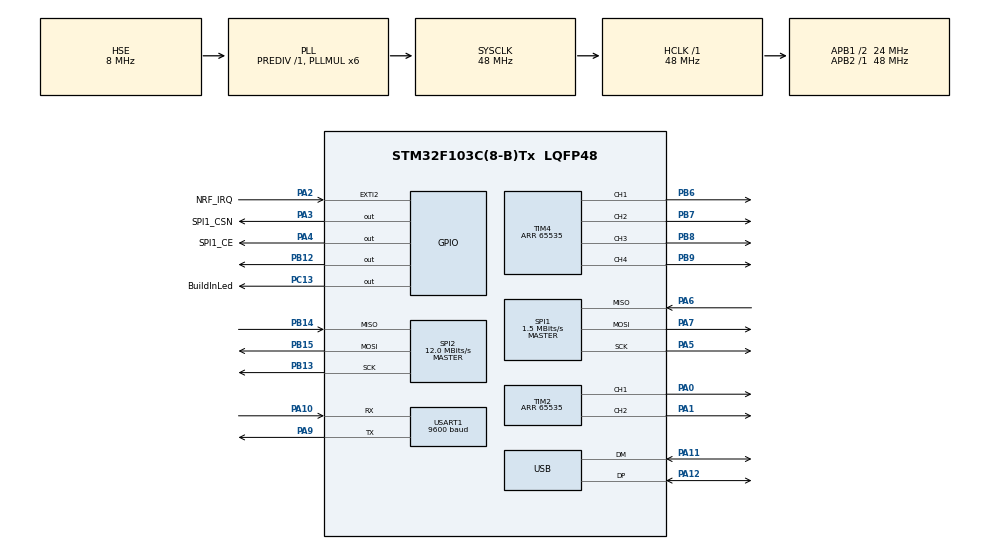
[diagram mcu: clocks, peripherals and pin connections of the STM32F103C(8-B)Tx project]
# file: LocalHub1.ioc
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Mcu.Family=STM32F1
Mcu.Name=STM32F103C(8-B)Tx
Mcu.Package=LQFP48
NVIC.EXTI2_IRQn=true\:0\:0\:false\:false\:true\:true\:true
NVIC.PriorityGroup=NVIC_PRIORITYGROUP_4
NVIC.RCC_IRQn=true\:0\:0\:false\:false\:true\:true\:false
NVIC.TIM3_IRQn=true\:0\:0\:false\:false\:true\:true\:true
NVIC.USART1_IRQn=true\:0\:0\:false\:false\:true\:true\:true
NVIC.USB_LP_CAN1_RX0_IRQn=true\:0\:0\:false\:false\:true\:false\:true
PA0-WKUP.GPIO_Speed=GPIO_SPEED_FREQ_HIGH
PA0-WKUP.Signal=S_TIM2_CH1_ETR
PA1.GPIO_Speed=GPIO_SPEED_FREQ_HIGH
PA1.Signal=S_TIM2_CH2
PA10.Mode=Asynchronous
PA10.Signal=USART1_RX
PA11.Mode=Device
PA11.Signal=USB_DM
PA12.Mode=Device
PA12.Signal=USB_DP
PA13.Mode=Serial_Wire
PA13.Signal=SYS_JTMS-SWDIO
PA14.Mode=Serial_Wire
PA14.Signal=SYS_JTCK-SWCLK
PA2.GPIO_Label=NRF_IRQ
PA2.GPIO_ModeDefaultEXTI=GPIO_MODE_IT_FALLING
PA2.GPIO_PuPd=GPIO_PULLDOWN
PA2.Signal=GPXTI2
PA3.GPIO_Label=SPI1_CSN
PA3.Signal=GPIO_Output
PA4.GPIO_Label=SPI1_CE
PA4.Signal=GPIO_Output
PA5.Mode=Full_Duplex_Master
PA5.Signal=SPI1_SCK
PA6.Mode=Full_Duplex_Master
PA6.Signal=SPI1_MISO
PA7.Mode=Full_Duplex_Master
PA7.Signal=SPI1_MOSI
PA9.Mode=Asynchronous
PA9.Signal=USART1_TX
PB12.Signal=GPIO_Output
PB13.Mode=Full_Duplex_Master
PB13.Signal=SPI2_SCK
PB14.Mode=Full_Duplex_Master
PB14.Signal=SPI2_MISO
PB15.Mode=Full_Duplex_Master
PB15.Signal=SPI2_MOSI
PB6.Signal=S_TIM4_CH1
PB7.Signal=S_TIM4_CH2
PB8.Signal=S_TIM4_CH3
PB9.Signal=S_TIM4_CH4
PC13-TAMPER-RTC.GPIO_Label=BuildInLed
PC13-TAMPER-RTC.Signal=GPIO_Output
PD0-OSC_IN.Mode=HSE-External-Oscillator
PD0-OSC_IN.Signal=RCC_OSC_IN
PD1-OSC_OUT.Mode=HSE-External-Oscillator
PD1-OSC_OUT.Signal=RCC_OSC_OUT
ProjectManager.HeapSize=0x200
ProjectManager.StackSize=0x400
ProjectManager.TargetToolchain=STM32CubeIDE
RCC.AHBFreq_Value=48000000
RCC.APB1CLKDivider=RCC_HCLK_DIV2
RCC.APB1Freq_Value=24000000
RCC.APB1TimFreq_Value=48000000
RCC.APB2Freq_Value=48000000
RCC.APB2TimFreq_Value=48000000
RCC.HCLKFreq_Value=48000000
RCC.PLLMUL=RCC_PLL_MUL6
RCC.PLLSourceVirtual=RCC_PLLSOURCE_HSE
RCC.SYSCLKFreq_VALUE=48000000
RCC.SYSCLKSource=RCC_SYSCLKSOURCE_PLLCLK
RCC.USBFreq_Value=48000000
SH.S_TIM2_CH1_ETR.0=TIM2_CH1,PWM Generation1 CH1
SH.S_TIM2_CH2.0=TIM2_CH2,PWM Generation2 CH2
SH.S_TIM4_CH1.0=TIM4_CH1,PWM Generation1 CH1
SH.S_TIM4_CH2.0=TIM4_CH2,PWM Generation2 CH2
SH.S_TIM4_CH3.0=TIM4_CH3,PWM Generation3 CH3
SH.S_TIM4_CH4.0=TIM4_CH4,PWM Generation4 CH4
SPI1.BaudRatePrescaler=SPI_BAUDRATEPRESCALER_32
SPI1.CalculateBaudRate=1.5 MBits/s
SPI1.Direction=SPI_DIRECTION_2LINES
SPI1.Mode=SPI_MODE_MASTER
SPI1.VirtualType=VM_MASTER
SPI2.BaudRatePrescaler=SPI_BAUDRATEPRESCALER_2
SPI2.CalculateBaudRate=12.0 MBits/s
SPI2.Direction=SPI_DIRECTION_2LINES
SPI2.Mode=SPI_MODE_MASTER
SPI2.VirtualType=VM_MASTER
TIM2.Channel-PWM\ Generation1\ CH1=TIM_CHANNEL_1
TIM2.Channel-PWM\ Generation2\ CH2=TIM_CHANNEL_2
TIM2.OCFastMode_PWM-PWM\ Generation1\ CH1=TIM_OCFAST_ENABLE
TIM2.Period=65535
TIM3.Period=1000
TIM3.Prescaler=47999
TIM4.Channel-PWM\ Generation1\ CH1=TIM_CHANNEL_1
TIM4.Channel-PWM\ Generation2\ CH2=TIM_CHANNEL_2
TIM4.Channel-PWM\ Generation3\ CH3=TIM_CHANNEL_3
TIM4.Channel-PWM\ Generation4\ CH4=TIM_CHANNEL_4
TIM4.Period=65535
USART1.BaudRate=9600
USART1.VirtualMode=VM_ASYNC
USB_DEVICE.CLASS_NAME_FS=CDC
USB_DEVICE.VirtualMode=Cdc
USB_DEVICE.VirtualModeFS=Cdc_FS
VP_TIM2_VS_ClockSourceINT.Mode=Internal
VP_TIM3_VS_ClockSourceINT.Mode=Internal
VP_TIM4_VS_ClockSourceINT.Mode=Internal
VP_USB_DEVICE_VS_USB_DEVICE_CDC_FS.Mode=CDC_FS
board=custom

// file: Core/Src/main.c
/* USER CODE BEGIN Header */
/**
  ******************************************************************************
  * @file           : main.c
  * @brief          : Main program body
  ******************************************************************************
  * @attention
  *
  * <h2><center>&copy; Copyright (c) 2020 STMicroelectronics.
  * All rights reserved.</center></h2>
  *
  * This software component is licensed by ST under BSD 3-Clause license,
  * the "License"; You may not use this file except in compliance with the
  * License. You may obtain a copy of the License at:
  *                        opensource.org/licenses/BSD-3-Clause
  *
  ******************************************************************************
  */
/* USER CODE END Header */

#include "main.h"
#include "spi.h"
#include "tim.h"
#include "usart.h"
#include "usb_device.h"
#include "gpio.h"

/* USER CODE BEGIN Includes */
#include "stdbool.h"
#include "string.h"
#include "math.h"
#include "usbd_cdc_if.h"

#include "NRF.h"
#include "ShiftRegister.h"
/* USER CODE END Includes */

/* USER CODE BEGIN PM */
#define PC_SEND(str) HAL_UART_Transmit(&huart1, (uint8_t*)str, strlen(str), 1000);
//#define PC_SEND(str) ;
/* USER CODE END PM */

/* USER CODE BEGIN PV */
#define ownNum  2

const uint8_t serverAddr[] = {1, 1, 1, 1, 1};
const uint8_t ownAddr[] = {ownNum, 1, 1, 1, 1};

extern bool UART1_MessageReady;
extern volatile uint8_t recvByte;
extern char UART1_RX_buff[32];

extern uint32_t startReceivingMessageTime;
extern bool startReceivingMessage;
bool NRF_IRQ = false;

extern uint8_t UserRxBufferFS[];
/* USER CODE END PV */

void SystemClock_Config(void);
/* USER CODE BEGIN PFP */
void InputMessageHandler(char *message);
int8_t SendMsg(uint8_t *receiverAddress, uint8_t *buf, uint8_t dataLength, uint8_t attemptCount, uint8_t delayBetweenAttemps);
void UART1_ClearRXBuff(void);
/* USER CODE END PFP */

int main(void)
{

  /* MCU Configuration--------------------------------------------------------*/

  /* Reset of all peripherals, Initializes the Flash interface and the Systick. */
  HAL_Init();

  /* Configure the system clock */
  SystemClock_Config();

  /* Initialize all configured peripherals */
  MX_GPIO_Init();
  MX_SPI1_Init();
  MX_SPI2_Init();
  MX_USART1_UART_Init();
  MX_TIM2_Init();
  MX_TIM4_Init();
  MX_USB_DEVICE_Init();
  MX_TIM3_Init();
  /* USER CODE BEGIN 2 */
  SR_SetValue(0x0000);
  HAL_UART_Receive_IT(&huart1, &recvByte, (uint16_t)1);
  NRF_Init(serverAddr, ownAddr);
  HAL_TIM_Base_Start_IT(&htim3);
  /* USER CODE END 2 */

  /* Infinite loop */
  /* USER CODE BEGIN WHILE */
  PC_SEND("\nBegin\n");

  /*
   * Отправка сообщения готовности на сервер.
   * Не изменять код! При выносе кода в функцию перестает работать!
   */
  int result = -2;
  uint8_t readyCommand[] = {0xff, ownNum, 0x01};
  NRF_TX_Mode();
  NRF_SendPacket(serverAddr, readyCommand, 3, W_TX_PAYLOAD);
  for(uint8_t i = 0; i < 10 && result != 1; ++i)
  {
  	result = NRF_SendPacket(serverAddr, readyCommand, 3, W_TX_PAYLOAD);
  	PC_SEND("[ WARNING ] Ready-packet did not sent. Try again.\n");
  	HAL_Delay(10);
  }
  NRF_RX_Mode();
  /*
   * Конец бага
   */

  if(result == 1)
  {
  	PC_SEND("[ OK ] Ready-packet was sent\n");
  }
  else if(result == 0)
  {
  	PC_SEND("[ WARNING ] Ready-packet did not sent\n");
  }
  else
  {
  	PC_SEND("[ ERROR ] Not handler\n");
  }

  while (1)
  {

  	if(NRF_IRQ == true)
  	{
  		uint8_t status = NRF_GetStatus();
			uint8_t FIFO = NRF_ReadReg(NRF_REG_FIFO_STATUS);
			uint8_t pipeNum = NRF_GetPipeNum();

			if(!(FIFO & _BV(RX_EMPTY)))
			{
				while(!(FIFO & _BV(RX_EMPTY)))
				{
					NRF_GetPacket(NRF_rxBuff);
					InputMessageHandler(NRF_rxBuff);
					NRF_ClearRxBuff();

					FIFO = NRF_ReadReg(NRF_REG_FIFO_STATUS);
					status = NRF_GetStatus();
				}

			}

			NRF_IRQ = false;
  	}

			//UART
			if(UART1_MessageReady)
			{
				InputMessageHandler(UART1_RX_buff);
				UART1_ClearRXBuff();
			}

			//USB
			uint8_t recvComBuffLen = strlen(UserRxBufferFS);
			if(recvComBuffLen > 0)
			{
				//CDC_Transmit_FS(UserRxBufferFS, recvComBuffLen);
				InputMessageHandler(UserRxBufferFS);
				memset(UserRxBufferFS, 0, recvComBuffLen);
			}

    /* USER CODE END WHILE */

  }
}

void SystemClock_Config(void)
{
  RCC_OscInitTypeDef RCC_OscInitStruct = {0};
  RCC_ClkInitTypeDef RCC_ClkInitStruct = {0};
  RCC_PeriphCLKInitTypeDef PeriphClkInit = {0};

  /** Initializes the CPU, AHB and APB busses clocks
  */
  RCC_OscInitStruct.OscillatorType = RCC_OSCILLATORTYPE_HSE;
  RCC_OscInitStruct.HSEState = RCC_HSE_ON;
  RCC_OscInitStruct.HSEPredivValue = RCC_HSE_PREDIV_DIV1;
  RCC_OscInitStruct.HSIState = RCC_HSI_ON;
  RCC_OscInitStruct.PLL.PLLState = RCC_PLL_ON;
  RCC_OscInitStruct.PLL.PLLSource = RCC_PLLSOURCE_HSE;
  RCC_OscInitStruct.PLL.PLLMUL = RCC_PLL_MUL6;
  if (HAL_RCC_OscConfig(&RCC_OscInitStruct) != HAL_OK)
  {
    Error_Handler();
  }
  /** Initializes the CPU, AHB and APB busses clocks
  */
  RCC_ClkInitStruct.ClockType = RCC_CLOCKTYPE_HCLK|RCC_CLOCKTYPE_SYSCLK
                              |RCC_CLOCKTYPE_PCLK1|RCC_CLOCKTYPE_PCLK2;
  RCC_ClkInitStruct.SYSCLKSource = RCC_SYSCLKSOURCE_PLLCLK;
  RCC_ClkInitStruct.AHBCLKDivider = RCC_SYSCLK_DIV1;
  RCC_ClkInitStruct.APB1CLKDivider = RCC_HCLK_DIV2;
  RCC_ClkInitStruct.APB2CLKDivider = RCC_HCLK_DIV1;

  if (HAL_RCC_ClockConfig(&RCC_ClkInitStruct, FLASH_LATENCY_1) != HAL_OK)
  {
    Error_Handler();
  }
  PeriphClkInit.PeriphClockSelection = RCC_PERIPHCLK_USB;
  PeriphClkInit.UsbClockSelection = RCC_USBCLKSOURCE_PLL;
  if (HAL_RCCEx_PeriphCLKConfig(&PeriphClkInit) != HAL_OK)
  {
    Error_Handler();
  }
}

/* USER CODE BEGIN 4 */
void InputMessageHandler(char *message)
{
	uint8_t cursorPosition = 0;
	uint8_t messageLength = strlen(message);

	int result = 0;
	uint8_t onlineCommand[] = {0xff, ownNum, 0x02};

	while(cursorPosition <= messageLength - 1)
	{
		switch(message[cursorPosition])
		{
			//Command reserved
			case 0x00: break;

			/*
			 * Send online command
			 */
			case 0x01:
				NRF_TX_Mode();
				for(uint8_t i = 0; i < 10 && result != 1; ++i)
				{
					result = NRF_SendPacket(serverAddr, onlineCommand, 3, W_TX_PAYLOAD);
				  PC_SEND("[ WARNING ] Online-packet did not sent.\n");
				  HAL_Delay(100);
				 }
				 NRF_RX_Mode();

				 if(result == 1)
				 {
					 PC_SEND("[ OK ] Online-packet was sent\n");
				 }
				 else if(result == 0)
				 {
					 PC_SEND("[ WARNING ] Online-packet did not sent\n");
				 }
				 else
				 {
				   PC_SEND("[ ERROR ] Not handler\n");
				 }
				break;

			case 0x02:
				break;

			/*
			 * Work with localHub portA
			 */
			case 0x03: SR_SetPin(0); break;
			case 0x04: SR_ResetPin(0); break;

			case 0x05: SR_SetPin(1); break;
			case 0x06: SR_ResetPin(1); break;

			case 0x07: SR_SetPin(2); break;
			case 0x08: SR_ResetPin(2); break;

			case 0x09: SR_SetPin(3); break;
			case 0x0A: SR_ResetPin(3); break;

			case 0x0B: SR_SetPin(4); break;
			case 0x0C: SR_ResetPin(4); break;

			case 0x0D: SR_SetPin(5); break;
			case 0x0E: SR_ResetPin(5); break;

			case 0x0F: SR_SetPin(6); break;
			case 0x10: SR_ResetPin(6); break;

			case 0x11: SR_SetPin(7); break;
			case 0x12: SR_ResetPin(7); break;

			case 0x13: SR_SetPin(8); break;
			case 0x14: SR_ResetPin(8); break;

			case 0x15: SR_SetPin(9); break;
			case 0x16: SR_ResetPin(9); break;

			case 0x17: SR_SetPin(10); break;
			case 0x18: SR_ResetPin(10); break;

			case 0x19: SR_SetPin(11); break;
			case 0x1A: SR_ResetPin(11); break;

			case 0x1B: SR_SetPin(12); break;
			case 0x1C: SR_ResetPin(12); break;

			case 0x1D: SR_SetPin(13); break;
			case 0x1E: SR_ResetPin(13); break;

			case 0x1F: SR_SetPin(14); break;
			case 0x20: SR_ResetPin(14); break;

			case 0x21: SR_SetPin(15); break;
			case 0x22: SR_ResetPin(15); break;

			/*
			 * Work with localHub portB
			 */

			/* TIM2_CHANNEL_1 */
			case 0x23:
				HAL_TIM_PWM_Start(&htim2, TIM_CHANNEL_1);
				TIM2->CCR1 = ((uint16_t)message[++cursorPosition] << 8) | message[++cursorPosition];
				break;

			case 0x24:
				TIM2->CCR1 = 0;
				HAL_TIM_PWM_Stop(&htim2, TIM_CHANNEL_1);
				break;

			/* TIM2_CHANNEL_2 */
			case 0x25:
				HAL_TIM_PWM_Start(&htim2, TIM_CHANNEL_2);
				TIM2->CCR2 = ((uint16_t)message[++cursorPosition] << 8) | message[++cursorPosition];
				break;

			case 0x26:
				TIM2->CCR2 = 0;
				HAL_TIM_PWM_Stop(&htim2, TIM_CHANNEL_2);
				break;

			/* TIM4_CHANNEL_4 */
			case 0x27:
				HAL_TIM_PWM_Start(&htim4, TIM_CHANNEL_4);
				TIM4->CCR4 = ((uint16_t)message[++cursorPosition] << 8) | message[++cursorPosition];
				break;

			case 0x28:
				TIM4->CCR4 = 0;
				HAL_TIM_PWM_Stop(&htim4, TIM_CHANNEL_4);
				break;

			/* TIM4_CHANNEL_3 */
			case 0x29:
				HAL_TIM_PWM_Start(&htim4, TIM_CHANNEL_3);
				TIM4->CCR3 = ((uint16_t)message[++cursorPosition] << 8) | message[++cursorPosition];
				break;

			case 0x2A:
				TIM4->CCR3 = 0;
				HAL_TIM_PWM_Stop(&htim4, TIM_CHANNEL_3);
				break;

			/* TIM4_CHANNEL_2 */
			case 0x2B:
				HAL_TIM_PWM_Start(&htim4, TIM_CHANNEL_2);
				TIM4->CCR2 = ((uint16_t)message[++cursorPosition] << 8) | message[++cursorPosition];
				break;

			case 0x2C:
				TIM4->CCR2 = 0;
				HAL_TIM_PWM_Stop(&htim4, TIM_CHANNEL_2);
				break;

			/* TIM4_CHANNEL_1 */
			case 0x2D:
				HAL_TIM_PWM_Start(&htim4, TIM_CHANNEL_1);
				TIM4->CCR1 = ((uint16_t)message[++cursorPosition] << 8) | message[++cursorPosition];
				break;

			case 0x2E:
				TIM4->CCR1 = 0;
				HAL_TIM_PWM_Stop(&htim4, TIM_CHANNEL_1);
				break;

			//TODO: Input

			//Command reserved
			case 0xFF: break;

			default:
				//TODO: Написать обработчик
				break;
		}

		++cursorPosition;
	}
}

int8_t SendMsg(uint8_t *receiverAddress, uint8_t *buf, uint8_t dataLength, uint8_t attemptCount, uint8_t delayBetweenAttemps)
{
		int8_t result = -2;

		NRF_TX_Mode();

		for(uint8_t i = 0; i < attemptCount && result != 1; ++i)
		{
			result = NRF_SendPacket(receiverAddress, buf, dataLength, W_TX_PAYLOAD);
			PC_SEND("[ WARNING ] Ready-packet did not sent.\n");
		  HAL_Delay(delayBetweenAttemps);
		}

		NRF_RX_Mode();

		return result;
}

void HAL_TIM_PeriodElapsedCallback(TIM_HandleTypeDef *htim)
{
  if(htim->Instance == TIM3)
  {
    HAL_GPIO_TogglePin(BuildInLed_GPIO_Port, BuildInLed_Pin);
  }
}
/* USER CODE END 4 */

void Error_Handler(void)
{
  /* USER CODE BEGIN Error_Handler_Debug */
  /* User can add his own implementation to report the HAL error return state */
	while(true)
	{
		HAL_GPIO_TogglePin(BuildInLed_GPIO_Port, BuildInLed_Pin);
		HAL_Delay(100);
	}
  /* USER CODE END Error_Handler_Debug */
}

/************************ (C) COPYRIGHT STMicroelectronics *****END OF FILE****/
